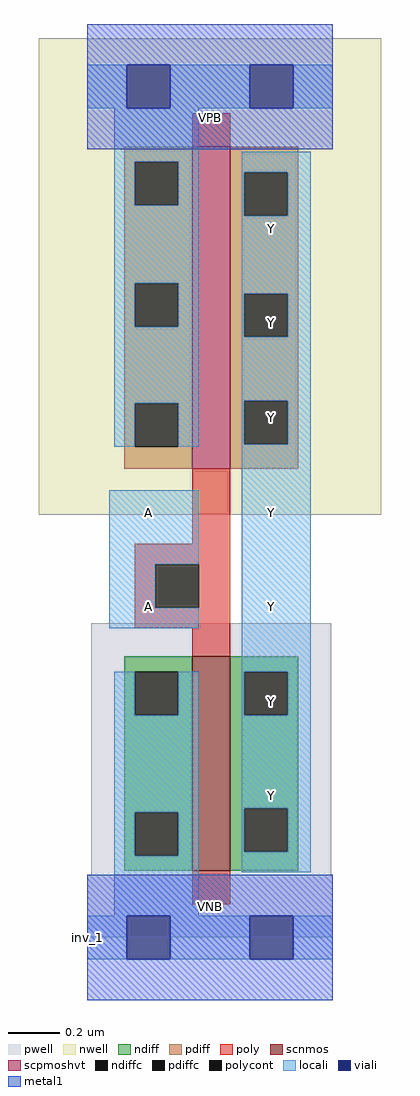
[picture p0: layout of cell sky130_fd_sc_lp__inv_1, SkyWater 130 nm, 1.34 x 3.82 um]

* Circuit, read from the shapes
.subckt sky130_fd_sc_lp__inv_1 A VGND VNB VPB VPWR Y
XM1 Y A VGND VNB sky130_fd_pr__nfet_01v8 w=0.84 l=0.15
XM2 Y A VPWR VPB sky130_fd_pr__pfet_01v8_hvt w=1.26 l=0.15
.ends

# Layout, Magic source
magic
tech sky130A
magscale 1 2
<< nwell >>
rect -38 331 230 704
<< pwell >>
rect 3 49 191 246
rect 0 0 192 49
<< scnmos >>
rect 82 52 112 220
<< scpmoshvt >>
rect 82 367 112 619
<< ndiff >>
rect 29 208 82 220
rect 29 174 37 208
rect 71 174 82 208
rect 29 98 82 174
rect 29 64 37 98
rect 71 64 82 98
rect 29 52 82 64
rect 112 208 165 220
rect 112 174 123 208
rect 157 174 165 208
rect 112 101 165 174
rect 112 67 123 101
rect 157 67 165 101
rect 112 52 165 67
<< pdiff >>
rect 29 607 82 619
rect 29 573 37 607
rect 71 573 82 607
rect 29 512 82 573
rect 29 478 37 512
rect 71 478 82 512
rect 29 418 82 478
rect 29 384 37 418
rect 71 384 82 418
rect 29 367 82 384
rect 112 599 165 619
rect 112 565 123 599
rect 157 565 165 599
rect 112 504 165 565
rect 112 470 123 504
rect 157 470 165 504
rect 112 420 165 470
rect 112 386 123 420
rect 157 386 165 420
rect 112 367 165 386
<< ndiffc >>
rect 37 174 71 208
rect 37 64 71 98
rect 123 174 157 208
rect 123 67 157 101
<< pdiffc >>
rect 37 573 71 607
rect 37 478 71 512
rect 37 384 71 418
rect 123 565 157 599
rect 123 470 157 504
rect 123 386 157 420
<< poly >>
rect 82 619 112 645
rect 82 308 112 367
rect 37 292 112 308
rect 37 258 53 292
rect 87 258 112 292
rect 37 242 112 258
rect 82 220 112 242
rect 82 26 112 52
<< polycont >>
rect 53 258 87 292
<< locali >>
rect 0 649 31 683
rect 65 649 127 683
rect 161 649 192 683
rect 21 607 87 649
rect 21 573 37 607
rect 71 573 87 607
rect 21 512 87 573
rect 21 478 37 512
rect 71 478 87 512
rect 21 418 87 478
rect 21 384 37 418
rect 71 384 87 418
rect 121 599 175 615
rect 121 565 123 599
rect 157 565 175 599
rect 121 504 175 565
rect 121 470 123 504
rect 157 470 175 504
rect 121 420 175 470
rect 121 386 123 420
rect 157 386 175 420
rect 17 292 87 350
rect 17 258 53 292
rect 17 242 87 258
rect 121 208 175 386
rect 21 174 37 208
rect 71 174 87 208
rect 21 98 87 174
rect 21 64 37 98
rect 71 64 87 98
rect 21 17 87 64
rect 121 174 123 208
rect 157 174 175 208
rect 121 101 175 174
rect 121 67 123 101
rect 157 67 175 101
rect 121 51 175 67
rect 0 -17 31 17
rect 65 -17 127 17
rect 161 -17 192 17
<< viali >>
rect 31 649 65 683
rect 127 649 161 683
rect 31 -17 65 17
rect 127 -17 161 17
<< metal1 >>
rect 0 683 192 715
rect 0 649 31 683
rect 65 649 127 683
rect 161 649 192 683
rect 0 617 192 649
rect 0 17 192 49
rect 0 -17 31 17
rect 65 -17 127 17
rect 161 -17 192 17
rect 0 -49 192 -17
<< labels >>
flabel pwell s 0 0 192 49 0 FreeSans 200 0 0 0 VNB
port 3 nsew ground bidirectional
flabel nwell s 0 617 192 666 0 FreeSans 200 0 0 0 VPB
port 4 nsew power bidirectional
rlabel comment s 0 0 0 0 4 inv_1
flabel metal1 s 0 0 192 49 0 FreeSans 340 0 0 0 VGND
port 2 nsew ground bidirectional
flabel metal1 s 0 617 192 666 0 FreeSans 340 0 0 0 VPWR
port 5 nsew power bidirectional
flabel locali s 31 242 65 276 0 FreeSans 340 0 0 0 A
port 1 nsew signal input
flabel locali s 31 316 65 350 0 FreeSans 340 0 0 0 A
port 1 nsew signal input
flabel locali s 127 94 161 128 0 FreeSans 340 0 0 0 Y
port 6 nsew signal output
flabel locali s 127 168 161 202 0 FreeSans 340 0 0 0 Y
port 6 nsew signal output
flabel locali s 127 242 161 276 0 FreeSans 340 0 0 0 Y
port 6 nsew signal output
flabel locali s 127 316 161 350 0 FreeSans 340 0 0 0 Y
port 6 nsew signal output
flabel locali s 127 390 161 424 0 FreeSans 340 0 0 0 Y
port 6 nsew signal output
flabel locali s 127 464 161 498 0 FreeSans 340 0 0 0 Y
port 6 nsew signal output
flabel locali s 127 538 161 572 0 FreeSans 340 0 0 0 Y
port 6 nsew signal output
<< properties >>
string LEFsite unit
string LEFclass CORE
string FIXED_BBOX 0 0 192 666
string GDS_FILE $PDKPATH/libs.ref/sky130_fd_sc_lp/gds/sky130_fd_sc_lp.gds
string LEFsymmetry X Y R90
string GDS_END 5436486
string GDS_START 5432668
<< end >>
